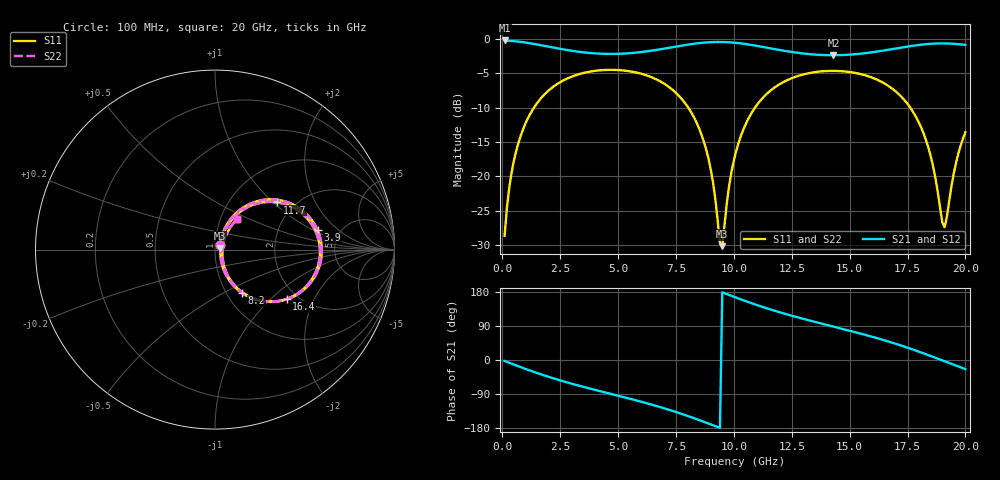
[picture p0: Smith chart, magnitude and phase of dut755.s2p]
! Touchstone file exported from HFSS 2026.1.0
!  File:  C:/ffzhzh/LocalFiles/Ansys_Project_Files/temp_train_TSV_RDL_755_1783206660_55132.aedt
!  Generated:  07:25:50 AM Jul  5, 2026
!  Design:  TSV_RDL
!  Project:  temp_train_TSV_RDL_755_1783206660_55132
! Variables:
!  h_bsmrdl = 3.75um
!  h_ox = 20um
!  h_rdl = 5um
!  h_sub = 59.59um
!  h_tmrdl = 4.67um
!  h_tsv = 59.59um
!  h_via = 3um
!  l_bsmrdl = 937.04um
!  l_sub = 6760.5um
!  l_tmrdl = 854.66um
!  m_sub = 200um
!  pitch = 57.83um
!  r_tsv = 13.51um
!  s_tmrdl = 10um
!  w_bsmrdl = 18.52um
!  w_sub = 500um
!  w_tmrdl = 25.06um
!  x_tsv_center1 = 867.19um
!  x_tsv_center2 = 1822.75um
!  x_tsv_center3 = 2702.47um
!  x_tsv_center4 = 3658.03um
!  x_tsv_center5 = 4537.75um
!  x_tsv_center6 = 5493.31um
# GHz S MA R 50.000000
! Terminal data exported
! Port[1] = TM_RDL1_1_T1
! Port[2] = TM_RDL5_1_T1
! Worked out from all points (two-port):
!   200 points, 100 MHz to 20 GHz, reference 50 ohm
!   highest |S21| = -0.22 dB at 100 MHz (marker M1); lowest = -2.4 dB at 14.3 GHz (marker M2)
!   |S21| within 3 dB of the highest: start of sweep to end of sweep
!   lowest |S11| = -30.2 dB at 9.5 GHz (marker M3), VSWR 1.06, Z = 53.1 + j0.865 ohm
!   |S11| at or under -10 dB: start of sweep to 1.371 GHz; 8.029 GHz to 10.92 GHz (2.887 GHz wide, 30.5 % of centre); 17.62 GHz to end of sweep
!   |S22| runs from -30.1 to -4.5 dB; largest |S21 - S12| = 1.6e-14
!   S11 on the Smith chart (normalised r, x): 100 MHz: 1.05, +0.05; 3.9 GHz: 3.39, +1.10; 8.2 GHz: 1.18, -0.62; 11.7 GHz: 1.64, +1.06; 16.4 GHz: 1.76, -1.26; 20 GHz: 1.20, +0.42
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0.1  0.03684 44.4  0.9745 -2.5  0.9745 -2.5  0.03684 44.4
! Gamma 0 0 0 0
! Port Impedance 50 0 50 0
0.5  0.1296 65.2  0.9634 -12.0  0.9634 -12.0  0.1296 65.2
1.1  0.2629 57.9  0.9357 -25.7  0.9357 -25.7  0.2629 57.9
3.5  0.5645 16.8  0.7985 -70.8  0.7985 -70.8  0.5645 16.8
3.9  0.582 10.7  0.7867 -77.2  0.7867 -77.2  0.582 10.7
6.8  0.493 -33.7  0.8389 -123.9  0.8389 -123.9  0.493 -33.7
8.2  0.2839 -58.3  0.9185 -151.8  0.9185 -151.8  0.2839 -58.2
8.9  0.1352 -67.0  0.9451 -167.5  0.9451 -167.5  0.1352 -66.8
9.4  0.03259 -26.5  0.9504 -179.2  0.9504 -179.2  0.03288 -26.2
9.5  0.03097 15.2  0.9498 178.5  0.9498 178.5  0.03129 15.1
9.8  0.08593 60.0  0.9451 171.5  0.9451 171.5  0.08606 59.9
10.1  0.1524 62.2  0.9359 164.6  0.9359 164.6  0.1525 62.1
10.8  0.2953 52.7  0.9015 149.2  0.9015 149.2  0.2953 52.6
11.7  0.4356 37.1  0.8465 131.2  0.8465 131.2  0.4357 37.1
13.4  0.5694 10.3  0.7712 102.2  0.7712 102.2  0.5694 10.3
14.3  0.585 -2.8  0.7608 88.2  0.7608 88.2  0.585 -2.8
16.4  0.4847 -34.4  0.8194 53.9  0.8194 53.9  0.4846 -34.4
16.7  0.4517 -39.4  0.8352 48.4  0.8352 48.4  0.4517 -39.3
18.2  0.2037 -62.5  0.9122 17.4  0.9122 17.4  0.2037 -62.5
19.1  0.0425 1.0  0.9273 -3.3  0.9273 -3.3  0.04247 1.1
19.6  0.1262 54.7  0.9188 -14.9  0.9188 -14.9  0.1262 54.7
20  0.2094 53.9  0.9042 -23.9  0.9042 -23.9  0.2094 53.9
